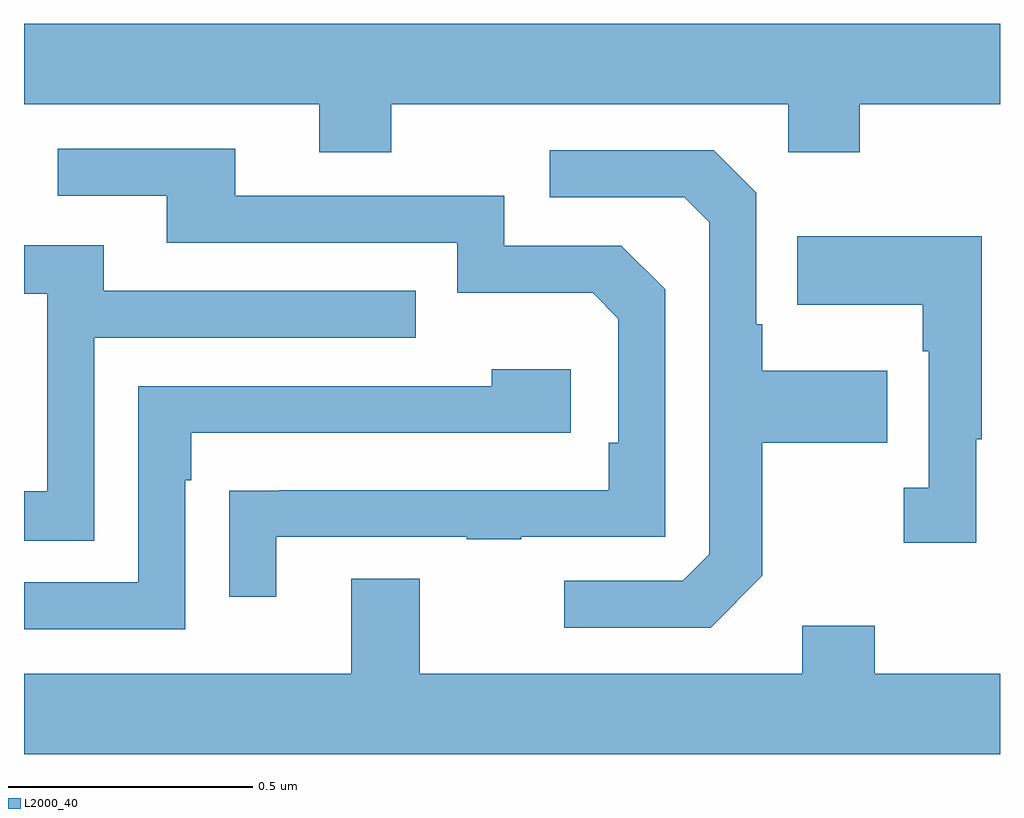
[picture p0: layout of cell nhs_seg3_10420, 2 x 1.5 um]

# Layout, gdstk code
import gdstk
lib = gdstk.Library(unit=1e-6, precision=1e-09)
def P(c, l, *ps):  # polygons
    for p in ps: c.add(gdstk.Polygon(p, *l))
L2000_40 = (2000, 40)

nhs_seg3_10420 = lib.new_cell('nhs_seg3_10420')
P(nhs_seg3_10420, L2000_40, [(240.753,742.208),(241.566,742.208),(241.566,742.109),(241.713,742.109),(241.713,742.208),(242,742.208),(242,742.372),(240,742.372),(240,742.208),(240.605,742.208),(240.605,742.109),(240.753,742.109)],
  [(240.517,741.321),(240.907,741.321),(240.907,741.316),(241.019,741.316),(241.019,741.321),(241.314,741.321),(241.314,741.828),(241.224,741.918),(240.984,741.918),(240.984,742.02),(240.433,742.02),(240.433,742.116),(240.069,742.116),(240.069,742.02),(240.293,742.02),(240.293,741.924),(240.888,741.924),(240.888,741.821),(241.165,741.821),(241.218,741.768),(241.218,741.514),(241.198,741.514),(241.198,741.417),(240.523,741.417),(240.523,741.416),(240.421,741.416),(240.421,741.198),(240.517,741.198)],
  [(241.513,741.241),(241.513,741.514),(241.769,741.514),(241.769,741.661),(241.513,741.661),(241.513,741.757),(241.5,741.757),(241.5,742.026),(241.413,742.113),(241.077,742.113),(241.077,742.017),(241.353,742.017),(241.404,741.966),(241.404,741.285),(241.35,741.231),(241.107,741.231),(241.107,741.135),(241.407,741.135)],
  [(241.951,741.521),(241.963,741.521),(241.963,741.937),(241.585,741.937),(241.585,741.797),(241.842,741.797),(241.842,741.701),(241.854,741.701),(241.854,741.422),(241.803,741.422),(241.803,741.309),(241.951,741.309)],
  [(240.144,741.729),(240.803,741.729),(240.803,741.825),(240.163,741.825),(240.163,741.919),(240,741.919),(240,741.819),(240.048,741.819),(240.048,741.414),(240,741.414),(240,741.313),(240.144,741.313)],
  [(240.33,741.437),(240.343,741.437),(240.343,741.534),(241.12,741.534),(241.12,741.664),(240.959,741.664),(240.959,741.63),(240.234,741.63),(240.234,741.228),(240,741.228),(240,741.132),(240.33,741.132)],
  [(242,741.04),(241.743,741.04),(241.743,741.139),(241.595,741.139),(241.595,741.04),(240.811,741.04),(240.811,741.235),(240.671,741.235),(240.671,741.04),(240,741.04),(240,740.876),(242,740.876)])

lib.write_gds('nhs_seg3_10420.gds')
